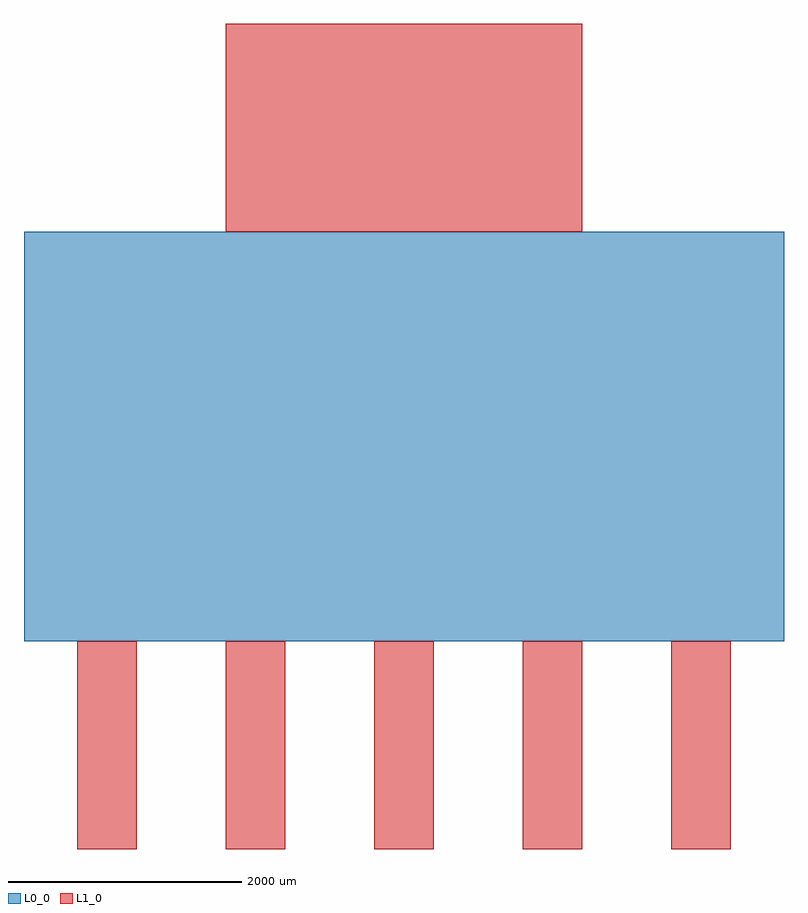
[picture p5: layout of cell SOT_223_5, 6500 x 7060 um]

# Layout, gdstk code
import gdstk
lib = gdstk.Library(unit=1e-6, precision=1e-09)
def R(c, l, rs):  # rectangles x0, y0, x1, y1
    for r in rs: c.add(gdstk.rectangle(r[:2], r[2:], *l))
def A(c, l, x, y, w, h, nx, ny, dx, dy):  # array of equal rectangles
    R(c, l, [(x+i*dx, y+j*dy, x+i*dx+w, y+j*dy+h) for i in range(nx) for j in range(ny)])
L0_0 = (0, 0)
L1_0 = (1, 0)
L99_1 = (99, 1)
L99_2 = (99, 2)
L99_3 = (99, 3)
L99_4 = (99, 4)
L99_5 = (99, 5)
L99_6 = (99, 6)

sot_223_5 = lib.new_cell('SOT_223_5')
R(sot_223_5, L0_0, [(0,0,6500,3500)])
A(sot_223_5, L1_0, 455, -1780, 510, 1780, 5, 1, 1270, 0)
R(sot_223_5, L1_0, [(1725,3500,4775,5280)])
sot_223_5.add(gdstk.FlexPath([(965,0),(455,0)], 0, ends="round", simple_path=True, layer=99, datatype=1))  # L99_1
sot_223_5.add(gdstk.FlexPath([(2235,0),(1725,0)], 0, ends="round", simple_path=True, layer=99, datatype=2))  # L99_2
sot_223_5.add(gdstk.FlexPath([(3505,0),(2995,0)], 0, ends="round", simple_path=True, layer=99, datatype=3))  # L99_3
sot_223_5.add(gdstk.FlexPath([(4775,0),(4265,0)], 0, ends="round", simple_path=True, layer=99, datatype=4))  # L99_4
sot_223_5.add(gdstk.FlexPath([(6045,0),(5535,0)], 0, ends="round", simple_path=True, layer=99, datatype=5))  # L99_5
sot_223_5.add(gdstk.FlexPath([(1725,3500),(4775,3500)], 0, ends="round", simple_path=True, layer=99, datatype=6))  # L99_6

lib.write_gds('SOT_223_5.gds')
